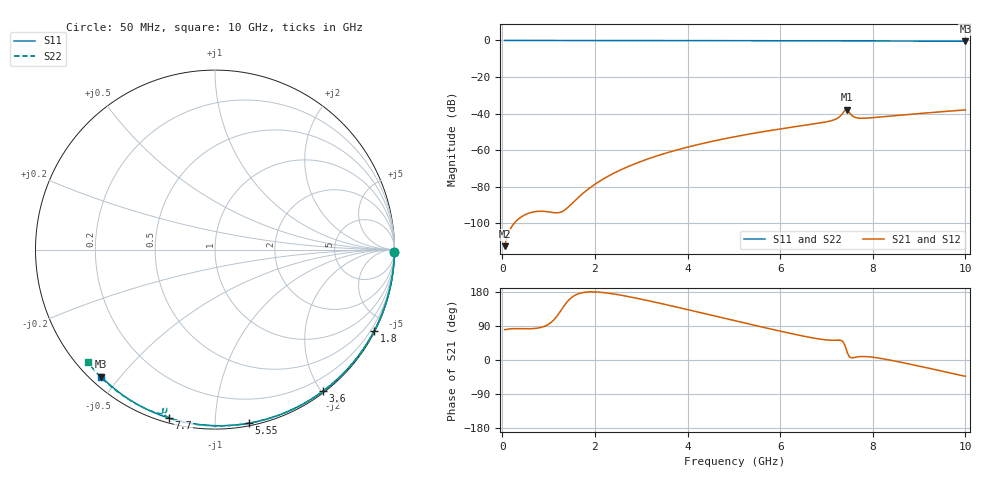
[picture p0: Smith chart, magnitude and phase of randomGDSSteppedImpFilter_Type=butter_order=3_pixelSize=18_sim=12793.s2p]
! freq	dB(S11)	phase(S11)	dB(S12)	phase(S12)
!  dB(S21)	phase(S21)	dB(S22)	phase(S22)
!S-par simulation data
#  GHz  S  DB  R 50
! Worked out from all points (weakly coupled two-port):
!   200 points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, 50 MHz to 10 GHz, reference 50 ohm
!   highest |S21| = -37.93 dB at 7.45 GHz (marker M1); lowest = -112.5 dB at 50 MHz (marker M2)
!   lowest |S11| = -0.4 dB at 10 GHz (marker M3), VSWR 39.08, Z = 1.53 - j22.3 ohm
!   |S11| at or under -10 dB: nowhere
!   |S22| runs from -0.7 to 0.0 dB; largest |S21 - S12| = 0
!   S11 on the Smith chart (normalised r, x): 50 MHz: open; 1.8 GHz: 0.04, -4.17; 3.6 GHz: 0.02, -2.01; 5.55 GHz: 0.02, -1.22; 7.7 GHz: 0.02, -0.76; 10 GHz: 0.03, -0.45
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0.05  -0.00 -0.8  -112.49 80.1  -112.49 80.1  -0.00 -0.8
0.9  -0.02 -13.6  -93.43 88.5  -93.43 88.5  -0.02 -14.4
1.75  -0.03 -26.3  -83.44 178.1  -83.44 178.1  -0.04 -27.7
1.8  -0.03 -27.0  -82.39 179.0  -82.39 179.0  -0.04 -28.4
1.95  -0.04 -29.2  -79.52 179.9  -79.52 179.9  -0.04 -30.8
2.25  -0.04 -33.6  -74.73 177.0  -74.73 177.0  -0.05 -35.4
2.55  -0.05 -37.9  -70.85 171.3  -70.85 171.3  -0.05 -39.9
2.95  -0.06 -43.6  -66.59 161.8  -66.59 161.8  -0.06 -45.9
3.4  -0.07 -50.0  -62.64 149.8  -62.64 149.8  -0.07 -52.6
3.6  -0.07 -52.8  -61.11 144.3  -61.11 144.3  -0.07 -55.5
4.3  -0.09 -62.4  -56.49 124.4  -56.49 124.4  -0.09 -65.6
5.05  -0.11 -72.4  -52.50 102.9  -52.50 102.9  -0.12 -76.1
5.55  -0.13 -78.9  -50.24 88.7  -50.24 88.7  -0.14 -82.9
6.7  -0.18 -93.3  -45.76 58.4  -45.76 58.4  -0.19 -98.2
7.2  -0.21 -99.3  -43.04 52.2  -43.04 52.2  -0.25 -105.2
7.3  -0.22 -100.5  -41.36 52.2  -41.36 52.2  -0.32 -106.9
7.4  -0.22 -101.7  -38.11 38.7  -38.11 38.7  -0.61 -108.1
7.45  -0.22 -102.3  -37.93 19.1  -37.93 19.1  -0.68 -106.9
7.55  -0.23 -103.5  -41.07 5.6  -41.07 5.6  -0.39 -107.4
7.7  -0.24 -105.3  -42.48 8.8  -42.48 8.8  -0.30 -109.8
8.35  -0.29 -113.0  -41.43 0.3  -41.43 0.3  -0.31 -118.3
10  -0.44 -131.8  -37.98 -43.0  -37.98 -43.0  -0.47 -138.4
